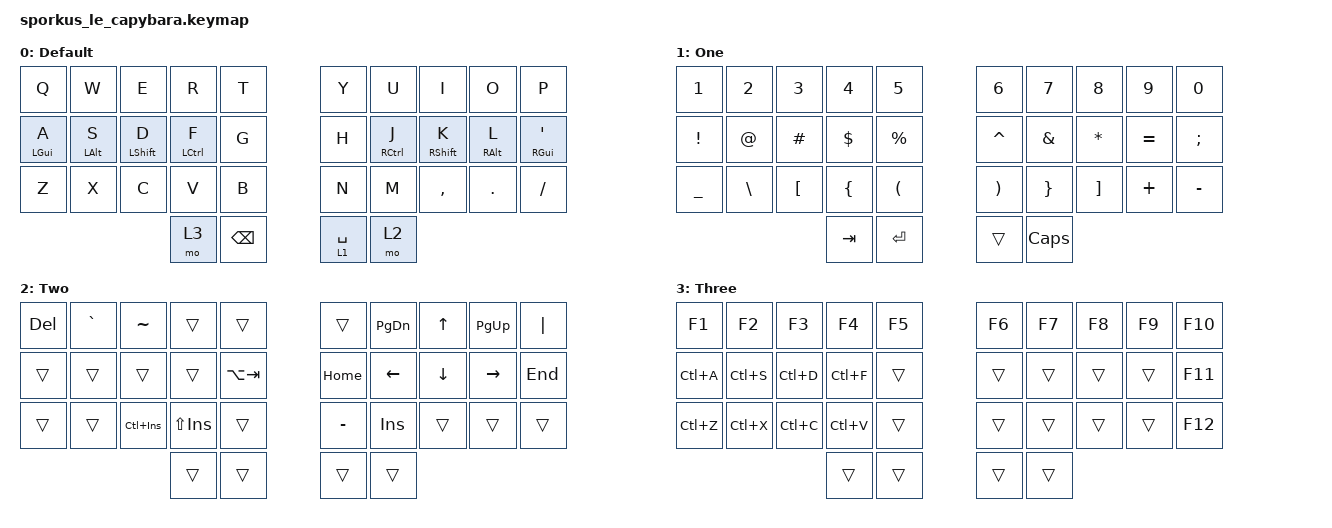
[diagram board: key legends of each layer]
/*
 * Copyright (c) 2020 The ZMK Contributors
 *
 * SPDX-License-Identifier: MIT
 */

#include <behaviors.dtsi>
#include <dt-bindings/zmk/keys.h>

#define BASE 0
#define ONE  1
#define TWO  2
#define THREE 3

&mt {
    flavor = "tap-preferred";
    tapping-term-ms = <200>;
    quick-tap-ms = <150>;
};

&lt {
    flavor = "tap-preferred";
    tapping-term-ms = <200>;
    quick-tap-ms = <150>;
};

&caps_word { continue-list = <UNDERSCORE MINUS BACKSPACE DELETE>; };

/ {
    //chosen {
    //    zmk,matrix_transform = &transform_with_encoder;
    //};

    behaviors {
        st: shift_tap {
            compatible = "zmk,behavior-hold-tap";
            label = "SFT_TAP";
            #binding-cells = <2>;
            tapping-term-ms = <100>;
            quick-tap-ms = <75>;
            flavor = "tap-preferred";
            bindings = <&kp>, <&kp>;

            global-quick-tap;
        };
    };

    combos {
        compatible = "zmk,combos";

        combo_capsword {
            timeout-ms = <60>;
            key-positions = <12 17>;
            bindings = <&caps_word>;
        };
    };

    keymap {
        compatible = "zmk,keymap";

        default_layer {
            label = "Default";

            // ---------------------------------------------------------------------------------------------------------------------------------
            // |  Q  |  W  |  E   |  R   |  T   |           |  Y   |  U    |  I    |  O   |   P   |
            // |LG(A)|LA(S)|LS(D) | LC(F)|  G   |           |  H   |RC(J)  |RS(K)  |RA(L) |RG(')  |
            // |  Z  |  X  |  C   |  V   |  B   |           |  N   |  M    |  ,    |  .   |   /   |
            //              |   MO(3)  |  BSPC  |           |LT(SPACE)| MO(2) |

            bindings = <
&kp Q       &kp W       &kp E        &kp R        &kp T              &kp Y        &kp U        &kp I        &kp O       &kp P
&mt LGUI A  &mt LALT S  &st LSHFT D  &mt LCTRL F  &kp G              &kp H        &mt RCTRL J  &st RSHFT K  &mt RALT L  &mt RGUI APOS
&kp Z       &kp X       &kp C        &kp V        &kp B              &kp N        &kp M        &kp COMMA    &kp DOT     &kp FSLH
                        &mo 3                     &kp BACKSPACE      &lt 1 SPACE               &mo 2
            >;
        };

        layer_1 {
            label = "One";

            // ---------------------------------------------------------------------------------------------------------------------------------
            // |  1  |  2  |  3   |  4   |  5   |           |  6   |  7    |  8    |  9   |   0   |
            // |  !  |  @  |  #   |  $   |  %   |           |  ^   |  &    |  *    |  =   |   ;   |
            // |  _  |  \  |  [   |  {   |  (   |           |  )   |  }    |  ]    |      |   -   |
            //              |   TAB   |   RET   |           |   TRANS   |CAPS|

            bindings = <
&kp N1     &kp N2    &kp N3    &kp N4    &kp N5         &kp N6     &kp N7    &kp N8    &kp N9     &kp N0
&kp EXCL   &kp AT    &kp HASH  &kp DLLR  &kp PRCNT      &kp CARET  &kp AMPS  &kp STAR  &kp EQUAL  &kp SEMI
&kp UNDER  &kp BSLH  &kp LBKT  &kp LBRC  &kp LPAR       &kp RPAR   &kp RBRC  &kp RBKT  &kp PLUS   &kp MINUS
                     &kp TAB             &kp RET        &trans               &kp CAPS
            >;
        };

        layer_2 {
            label = "Two";

            // ---------------------------------------------------------------------------------------------------------------------------------
            // | DEL |  `  |   ~  |      |      |           |      |  PG DN|  UP   | PG UP|       |
            // |     |     |      |      |ALTTAB|           | HOME | LEFT  |  DOWN |RIGHT |   END |
            // |     |     |LC(INS)|LS(INS)|    |           |      |  INS  |       |      |       |
            //              |         |         |           |         |      |

            bindings = <
&kp DEL  &kp GRAVE  &kp TILDE    &trans       &trans           &trans     &kp PG_DN  &kp UP    &kp PG_UP  &kp PIPE
&trans   &trans     &trans       &trans       &kp LA(TAB)      &kp HOME   &kp LEFT   &kp DOWN  &kp RIGHT  &kp END
&trans   &trans     &kp LC(INS)  &kp LS(INS)  &trans           &kp MINUS  &kp INS    &trans    &trans     &trans
                    &trans                    &trans           &trans                &trans
            >;
        };

        layer_3 {
            label = "Three";

            // ---------------------------------------------------------------------------------------------------------------------------------
            // |  F1 |  F2 |  F3  |  F4  |  F5  |           | F6   |   F7  |   F8  |  F9  |  F10  |
            // |LC(A)|LC(S)|      |      |LC(F) |           |      |       |       |      |  F11  |
            // |LC(Z)|LC(X)|LC(C) |LC(V) |      |           |      |       |       |      |  F12  |
            //              |         |         |           |         |         |

            bindings = <
&kp F1     &kp F2     &kp F3     &kp F4     &kp F5      &kp F6  &kp F7  &kp F8  &kp F9  &kp F10
&kp LC(A)  &kp LC(S)  &kp LC(D)  &kp LC(F)  &trans      &trans  &trans  &trans  &trans  &kp F11
&kp LC(Z)  &kp LC(X)  &kp LC(C)  &kp LC(V)  &trans      &trans  &trans  &trans  &trans  &kp F12
                      &trans                &trans      &trans          &trans
            >;
        };
    };
};
